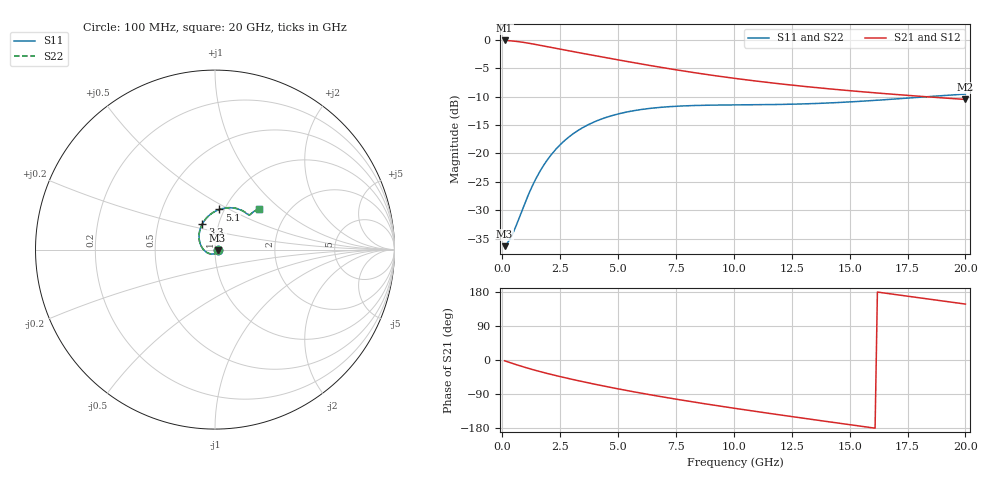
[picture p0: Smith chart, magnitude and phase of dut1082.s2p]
! Touchstone file exported from HFSS 2024.1.0
!  File:  C:/UserFiles/LocalFiles/RDL_TSV_Batchsim/temp_RDL_TSV_1082_1780095897.aedt
!  Generated:  07:17:25 AM May 30, 2026
!  Design:  RDL_TSV
!  Project:  temp_RDL_TSV_1082_1780095897
!  Setup:  Setup1
!  Solution:  Sweep
! Variables:
!  dtsv = 14.35um
!  hbump = 3um
!  htsv = 95.64um
!  ldown = 489um
!  lrdl = 277.08um
!  p = 40
!  p1 = 51.06um
!  rhole = 10um
!  subl = 2575.32um
!  t = 450um
!  tdown = 3.2um
!  trdl = 4.44um
!  viad = 10um
!  wdown = 22.01um
!  wrdl = 11.88um
!  xbump = 18um
# GHz S MA R 50.000000
! Terminal data exported
! Port[1] = TM1_1_T1
! Port[2] = TM1_4_T1
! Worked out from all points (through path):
!   200 points, 100 MHz to 20 GHz, reference 50 ohm
!   highest |S21| = -0.14 dB at 100 MHz (marker M1); lowest = -10.5 dB at 20 GHz (marker M2)
!   group delay of S21, straight-line fit = 27.6 ps
!   lowest |S11| = -36.3 dB at 100 MHz (marker M3), VSWR 1.03, Z = 51.5 - j0.448 ohm
!   |S11| at or under -10 dB: start of sweep to 18.44 GHz
!   |S22| runs from -36.3 to -9.5 dB; largest |S21 - S12| = 1.9e-14
!   S11 on the Smith chart (normalised r, x): 100 MHz: 1.03, -0.01; 3.3 GHz: 0.84, +0.25; 5.1 GHz: 0.95, +0.45; 20 GHz: 1.43, +0.73
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0.1  0.0153 -16.5  0.9842 -2.1  0.9842 -2.1  0.0153 -16.5
! Gamma 0 0 0 0
! Port Impedance 50 0 50 0
0.4  0.01878 -67.8  0.9758 -8.3  0.9758 -8.3  0.01877 -67.8
0.6  0.02321 -97.5  0.9664 -12.2  0.9664 -12.2  0.02321 -97.6
1  0.03753 -142.2  0.9411 -19.8  0.9411 -19.8  0.03755 -142.3
1.4  0.05713 -172.4  0.9108 -26.8  0.9108 -26.8  0.05721 -172.5
1.8  0.07941 165.6  0.879 -33.3  0.879 -33.3  0.07956 165.6
2.1  0.09667 152.5  0.8555 -37.9  0.8555 -37.9  0.09688 152.4
2.5  0.1193 138.0  0.8253 -43.8  0.8253 -43.8  0.1196 137.9
2.9  0.1408 125.9  0.7965 -49.5  0.7965 -49.5  0.1412 125.9
3.3  0.1606 115.7  0.769 -54.9  0.769 -54.9  0.161 115.7
3.5  0.1697 111.1  0.7557 -57.5  0.7557 -57.5  0.1702 111.1
4.2  0.1977 97.4  0.7114 -66.5  0.7114 -66.5  0.1983 97.4
5.1  0.2249 83.7  0.6589 -77.3  0.6589 -77.3  0.2256 83.7
5.9  0.2416 74.1  0.6164 -86.4  0.6164 -86.4  0.2424 74.2
6.8  0.2539 65.7  0.5735 -96.1  0.5735 -96.1  0.2548 65.7
8.4  0.2641 55.3  0.509 -112.2  0.509 -112.2  0.2652 55.4
10.1  0.2671 49.0  0.4552 -128.1  0.4552 -128.1  0.2682 49.0
11.7  0.2689 46.1  0.4155 -142.3  0.4155 -142.3  0.2701 46.1
13.4  0.2741 45.0  0.3818 -157.0  0.3818 -157.0  0.2753 45.0
15  0.2836 44.8  0.3561 -170.6  0.3561 -170.6  0.2848 44.8
16.7  0.2983 44.6  0.3333 175.1  0.3333 175.1  0.2994 44.5
20  0.3327 42.5  0.2983 147.6  0.2983 147.6  0.3337 42.5
